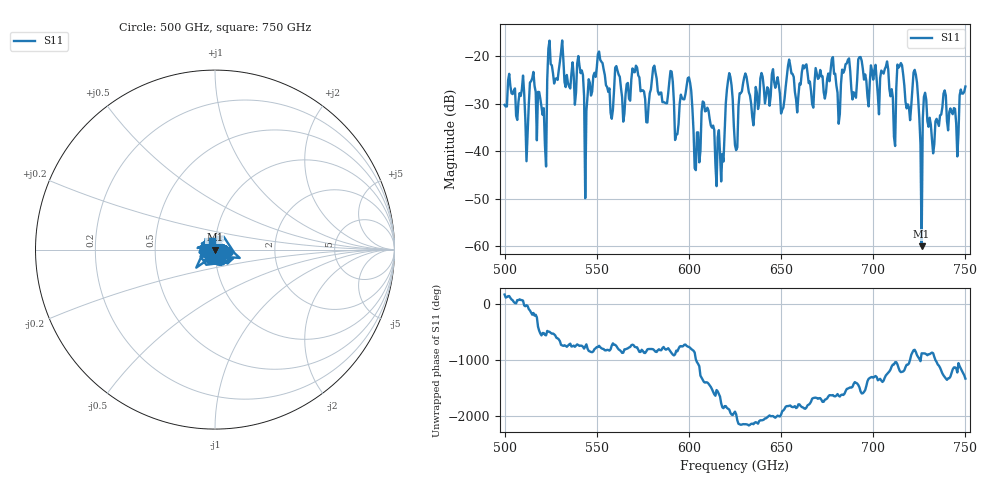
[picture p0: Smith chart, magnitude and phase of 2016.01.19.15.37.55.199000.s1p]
!Created with skrf (http://scikit-rf.org).
# GHz S RI R 50.0
!freq ReS11 ImS11
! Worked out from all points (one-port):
!   401 points, 500 GHz to 750 GHz, reference 50 ohm
!   lowest |S11| = -60.0 dB at 726.2 GHz (marker M1), VSWR 1.00, Z = 49.9 - j0.0334 ohm
!   |S11| at or under -10 dB: start of sweep to end of sweep
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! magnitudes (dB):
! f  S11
! 500 GHz  -30.3
! 511.9 GHz  -42.1
! 515 GHz  -24.7
! 521.2 GHz  -31.0
! 524.4 GHz  -16.8
! 531.2 GHz  -16.7
! 544.4 GHz  -31.5
! 551.2 GHz  -19.1
! 562.5 GHz  -24.4
! 590 GHz  -23.1
! 593.8 GHz  -36.4
! 600 GHz  -24.5
! 604.4 GHz  -36.0
! 608.8 GHz  -31.6
! 618.1 GHz  -40.6
! 621.9 GHz  -23.6
! 625 GHz  -38.7
! 630.6 GHz  -23.7
! 656.2 GHz  -23.8
! 687.5 GHz  -23.1
! 706.9 GHz  -22.2
! 710.6 GHz  -28.6
! 714.4 GHz  -22.1
! 718.8 GHz  -30.2
! 723.1 GHz  -23.9
! 726.2 GHz  -60.0
! 728.1 GHz  -27.7
! 750 GHz  -26.4
